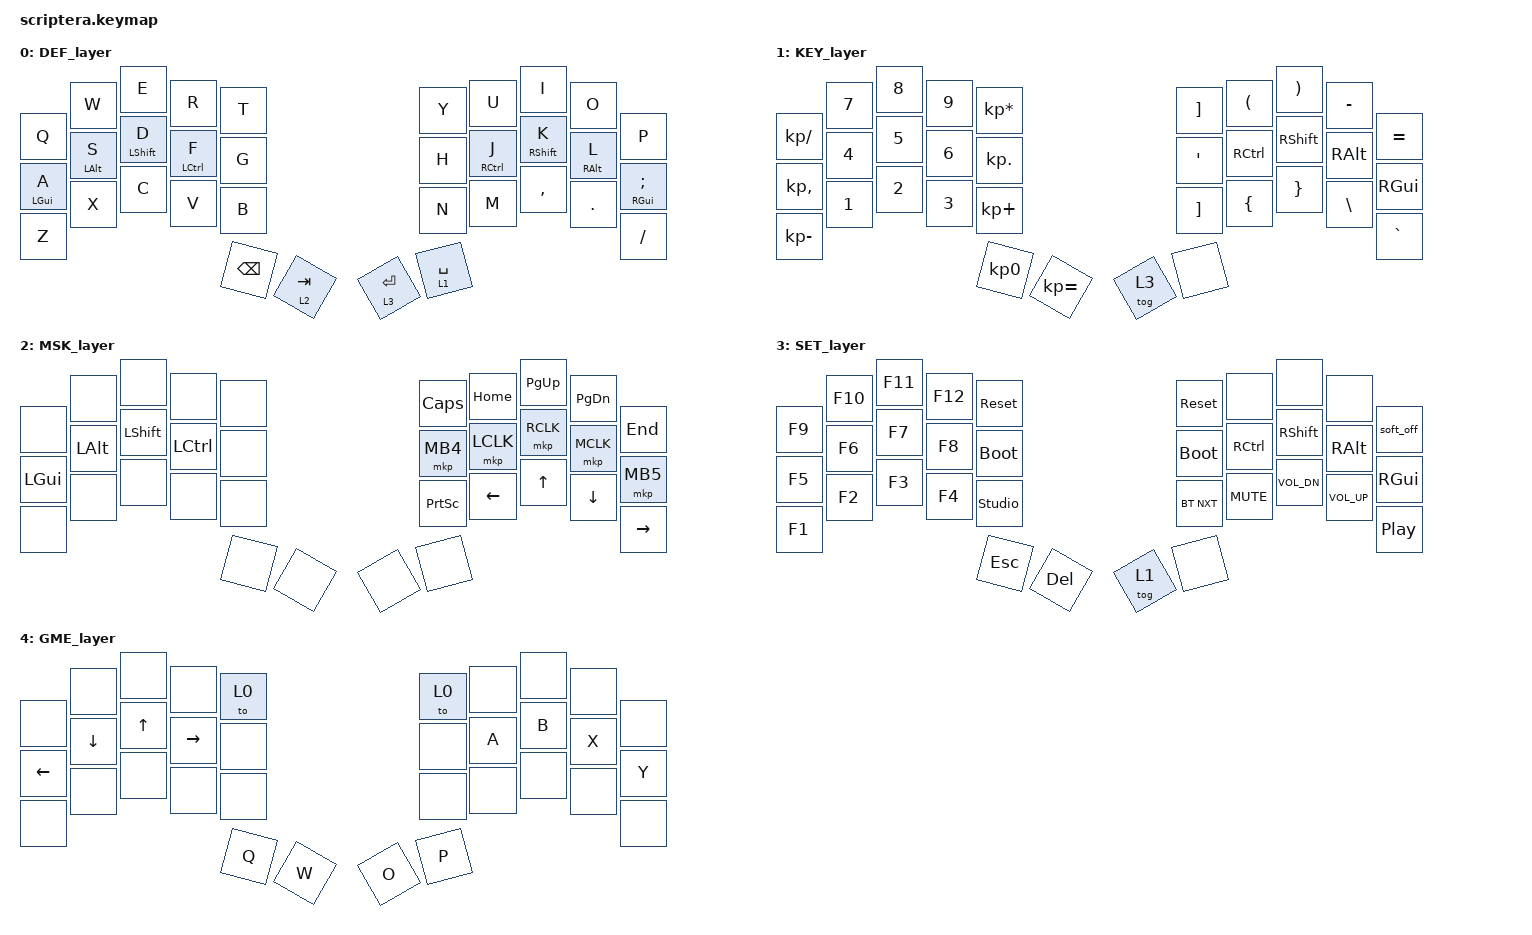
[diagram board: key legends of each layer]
#include <behaviors.dtsi>
#include <behaviors/mouse_keys.dtsi>
#include <dt-bindings/zmk/bt.h>
#include <dt-bindings/zmk/keys.h>
#include <dt-bindings/zmk/mouse.h>

#include "zmk-helpers/helper.h"
#include "zmk-helpers/key-labels/34.h"                                      // key-position labels

// index of keymap layers
#define DEF 0 // default layer
#define KEY 1 // keypad layer
#define MSK 2 // mouse key layer
#define SET 3 // settings layer
#define GME 4 // game layer

// https://github.com/urob/zmk-config/tree/main#timeless-homerow-mods
#define KEYS_L LT0 LT1 LT2 LT3 LT4 LM0 LM1 LM2 LM3 LM4 LB0 LB1 LB2 LB3 LB4  // left-hand keys
#define KEYS_R RT0 RT1 RT2 RT3 RT4 RM0 RM1 RM2 RM3 RM4 RB0 RB1 RB2 RB3 RB4  // right-hand keys
#define THUMBS LH1 LH0 RH0 RH1                                              // thumb keys

ZMK_HOLD_TAP(hml,
    flavor = "balanced";
    tapping-term-ms = <280>;
    quick-tap-ms = <175>;                // repeat on tap-into-hold
    require-prior-idle-ms = <150>;
    bindings = <&kp>, <&kp>;
    hold-trigger-key-positions = <KEYS_R THUMBS>;
    hold-trigger-on-release;             // delay positional check until key-release
)

ZMK_HOLD_TAP(hmr,
    flavor = "balanced";
    tapping-term-ms = <280>;
    quick-tap-ms = <175>;                // repeat on tap-into-hold
    require-prior-idle-ms = <150>;
    bindings = <&kp>, <&kp>;
    hold-trigger-key-positions = <KEYS_L THUMBS>;
    hold-trigger-on-release;             // delay positional check until key-release
)

/ {
    conditional_layers {
        compatible = "zmk,conditional-layers";
        lower_temp {
            if-layers = <1 3>;
            then-layer = <4>;
        };
    };
    
    keymap {
        compatible = "zmk,keymap";

        // Base alpha layer

        DEF_layer {
            bindings = <
&kp Q            &kp W            &kp E                &kp R                &kp T       &kp Y   &kp U                &kp I                &kp O            &kp P
&hml LEFT_GUI A  &hml LEFT_ALT S  &hml LEFT_SHIFT D    &hml LEFT_CONTROL F  &kp G       &kp H   &hmr RIGHT_CONTROL J &hmr RIGHT_SHIFT K   &hmr RIGHT_ALT L &hmr RIGHT_GUI SEMICOLON
&kp Z            &kp X            &kp C                &kp V                &kp B       &kp N   &kp M                &kp COMMA            &kp DOT          &kp SLASH
&kp BACKSPACE    &lt 2 TAB                                                                                                                &lt 3 ENTER      &lt 1 SPACE
            >;
        };

        // Numbers and arrow key navigation

        KEY_layer {
            bindings = <
&kp KP_DIVIDE   &kp N7    &kp N8   &kp N9   &kp KP_MULTIPLY        &kp RIGHT_BRACKET   &kp LEFT_PARENTHESIS    &kp RIGHT_PARENTHESIS   &kp MINUS       &kp EQUAL
&kp KP_COMMA    &kp N4    &kp N5   &kp N6   &kp KP_DOT             &kp APOSTROPHE      &kp RIGHT_CONTROL       &kp RIGHT_SHIFT         &kp RIGHT_ALT   &kp RIGHT_GUI
&kp KP_MINUS    &kp N1    &kp N2   &kp N3   &kp KP_PLUS            &kp RIGHT_BRACKET   &kp LEFT_BRACE          &kp RIGHT_BRACE         &kp BACKSLASH   &kp GRAVE
&kp KP_N0       &kp KP_EQUAL                                                                                                           &tog 3          &none
            >;
        };

        // Symbols organized by use

        MSK_layer {
            bindings = <
&none           &none           &none           &none               &none       &kp CLCK    &kp HOME    &kp PG_UP   &kp PG_DN   &kp END
&kp LEFT_GUI    &kp LEFT_ALT    &kp LEFT_SHIFT  &kp LEFT_CONTROL    &none       &mkp MB4    &mkp LCLK   &mkp RCLK   &mkp MCLK   &mkp MB5
&none           &none           &none           &none               &none       &kp PSCRN   &kp LEFT    &kp UP      &kp DOWN    &kp RIGHT
&none           &none                                                                                               &none       &none
            >;
        };

        // Used to change the keyboard's settings

        SET_layer {
            bindings = <
&kp F9  &kp F10 &kp F11 &kp F12 &sys_reset          &sys_reset     &none                &none              &none           &soft_off
&kp F5  &kp F6  &kp F7  &kp F8  &bootloader         &bootloader    &kp RIGHT_CONTROL    &kp RIGHT_SHIFT    &kp RIGHT_ALT   &kp RIGHT_GUI
&kp F1  &kp F2  &kp F3  &kp F4  &studio_unlock      &bt BT_NXT     &kp C_MUTE           &kp C_VOL_DN       &kp C_VOL_UP    &kp C_PP
&kp ESC &kp DEL                                                                                            &tog 1          &none
            >;
        };

        // layout for gaming

        GME_layer {
            bindings = <
&none       &none       &none   &none       &to 0       &to 0   &none   &none   &none   &none
&kp LEFT    &kp DOWN    &kp UP  &kp RIGHT   &none       &none   &kp A   &kp B   &kp X   &kp Y
&none       &none       &none   &none       &none       &none   &none   &none   &none   &none
&kp Q       &kp W                                                               &kp O   &kp P
            >;
        };
    };
};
